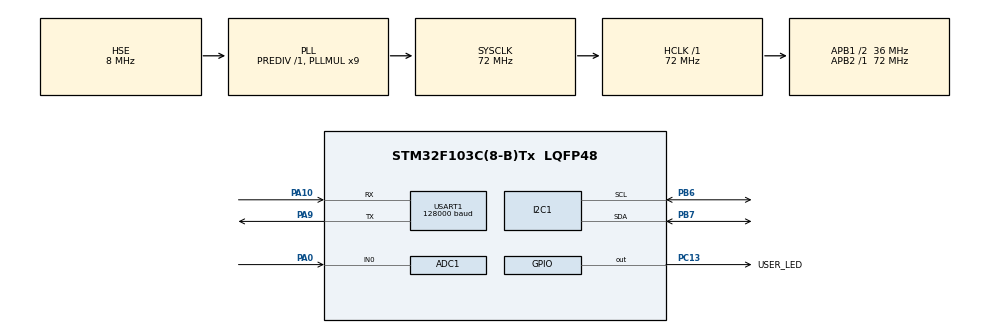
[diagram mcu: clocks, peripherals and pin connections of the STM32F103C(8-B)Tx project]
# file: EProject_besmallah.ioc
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ADC1.Channel-0\#ChannelRegularConversion=ADC_CHANNEL_0
ADC1.ContinuousConvMode=ENABLE
ADC1.NbrOfConversionFlag=1
ADC1.Rank-0\#ChannelRegularConversion=1
ADC1.SamplingTime-0\#ChannelRegularConversion=ADC_SAMPLETIME_1CYCLE_5
ADC1.master=1
Dma.ADC1.0.Direction=DMA_PERIPH_TO_MEMORY
Dma.ADC1.0.Instance=DMA1_Channel1
Dma.ADC1.0.MemDataAlignment=DMA_MDATAALIGN_WORD
Dma.ADC1.0.MemInc=DMA_MINC_ENABLE
Dma.ADC1.0.Mode=DMA_CIRCULAR
Dma.ADC1.0.PeriphDataAlignment=DMA_PDATAALIGN_WORD
Dma.ADC1.0.PeriphInc=DMA_PINC_DISABLE
Dma.ADC1.0.Priority=DMA_PRIORITY_LOW
Dma.Request0=ADC1
Mcu.Family=STM32F1
Mcu.Name=STM32F103C(8-B)Tx
Mcu.Package=LQFP48
NVIC.ADC1_2_IRQn=true\:0\:0\:true\:false\:true\:true\:true
NVIC.DMA1_Channel1_IRQn=true\:0\:0\:false\:false\:true\:false\:true
NVIC.PriorityGroup=NVIC_PRIORITYGROUP_4
NVIC.USART1_IRQn=true\:0\:0\:false\:false\:true\:true\:true
PA0-WKUP.Signal=ADCx_IN0
PA10.Mode=Asynchronous
PA10.Signal=USART1_RX
PA13.Mode=Serial_Wire
PA13.Signal=SYS_JTMS-SWDIO
PA14.Mode=Serial_Wire
PA14.Signal=SYS_JTCK-SWCLK
PA9.Mode=Asynchronous
PA9.Signal=USART1_TX
PB6.Mode=I2C
PB6.Signal=I2C1_SCL
PB7.Mode=I2C
PB7.Signal=I2C1_SDA
PC13-TAMPER-RTC.GPIO_Label=USER_LED
PC13-TAMPER-RTC.Signal=GPIO_Output
PD0-OSC_IN.Mode=HSE-External-Oscillator
PD0-OSC_IN.Signal=RCC_OSC_IN
PD1-OSC_OUT.Mode=HSE-External-Oscillator
PD1-OSC_OUT.Signal=RCC_OSC_OUT
ProjectManager.HeapSize=0x200
ProjectManager.StackSize=0x400
ProjectManager.TargetToolchain=MDK-ARM V5.27
RCC.ADCPresc=RCC_ADCPCLK2_DIV6
RCC.AHBFreq_Value=72000000
RCC.APB1CLKDivider=RCC_HCLK_DIV2
RCC.APB1Freq_Value=36000000
RCC.APB1TimFreq_Value=72000000
RCC.APB2Freq_Value=72000000
RCC.APB2TimFreq_Value=72000000
RCC.HCLKFreq_Value=72000000
RCC.PLLMUL=RCC_PLL_MUL9
RCC.PLLSourceVirtual=RCC_PLLSOURCE_HSE
RCC.SYSCLKFreq_VALUE=72000000
RCC.SYSCLKSource=RCC_SYSCLKSOURCE_PLLCLK
RCC.USBFreq_Value=72000000
SH.ADCx_IN0.0=ADC1_IN0,IN0
TIM2.AutoReloadPreload=TIM_AUTORELOAD_PRELOAD_DISABLE
TIM2.Period=2000
TIM2.Prescaler=35999
TIM3.Period=9000
TIM3.TIM_MasterOutputTrigger=TIM_TRGO_UPDATE
USART1.BaudRate=128000
USART1.VirtualMode=VM_ASYNC
VP_TIM2_VS_ClockSourceINT.Mode=Internal
VP_TIM3_VS_ClockSourceINT.Mode=Internal
board=custom

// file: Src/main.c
/* USER CODE BEGIN Header */
/**
  ******************************************************************************
  * @file           : main.c
  * @brief          : Main program body
  ******************************************************************************
  * @attention
  *
  * <h2><center>&copy; Copyright (c) 2020 STMicroelectronics.
  * All rights reserved.</center></h2>
  *
  * This software component is licensed by ST under BSD 3-Clause license,
  * the "License"; You may not use this file except in compliance with the
  * License. You may obtain a copy of the License at:
  *                        opensource.org/licenses/BSD-3-Clause
  *
  ******************************************************************************
  */
/* USER CODE END Header */

#include "main.h"

/* USER CODE BEGIN Includes */
#include "stdlib.h"
#include "stdio.h"
#include "string.h"
/* USER CODE END Includes */

ADC_HandleTypeDef hadc1;
DMA_HandleTypeDef hdma_adc1;

I2C_HandleTypeDef hi2c1;

TIM_HandleTypeDef htim2;
TIM_HandleTypeDef htim3;

UART_HandleTypeDef huart1;

void SystemClock_Config(void);
static void MX_GPIO_Init(void);
static void MX_DMA_Init(void);
static void MX_ADC1_Init(void);
static void MX_I2C1_Init(void);
static void MX_USART1_UART_Init(void);
static void MX_TIM2_Init(void);
static void MX_TIM3_Init(void);

/* USER CODE BEGIN 0 */
uint32_t adc_val;
uint32_t buffer;
uint32_t adc_data[1000];
uint32_t i = 0;
uint32_t returnCode;
//int flag=0;

uint8_t bit_cnt=0;
char rec_val[4] = {'0','0','0','0'};
volatile uint32_t min_ticks=0;
volatile uint32_t sample_ticks=0;
volatile uint32_t adc_val_prev=0;
volatile uint8_t flag=0;
volatile uint32_t input_rate=1;
volatile uint16_t temp=1;
volatile uint32_t gen_rate =0;

void GenerateRate(){
	if(input_rate>1000)
		input_rate=1000;
	  gen_rate = (1000/input_rate);
	  sample_ticks=0;
}

 void HAL_UART_RxCpltCallback(UART_HandleTypeDef* huart){
	        sscanf(rec_val, "%d", &input_rate);
//	 		    char error[4];
//			    sprintf(error, "%zu", input_rate);
//		      HAL_UART_Transmit(&huart1, (uint8_t *)error, sizeof(error), HAL_MAX_DELAY);
//	        HAL_UART_Transmit(&huart1, (uint8_t *)rec_val, sizeof(rec_val), HAL_MAX_DELAY);
	        if(input_rate>0x9){// if received 4 characetrs abort
				  GenerateRate();
	        flag = 1;
				 // bit_cnt=0x0;
					HAL_UART_AbortReceive_IT(&huart1);
			 }
			 else{
			// bit_cnt= bit_cnt +1;
			 HAL_UART_Receive_IT(&huart1,(uint8_t*) rec_val, sizeof(rec_val));
			 }
 }
void HAL_ADC_ConvCpltCallback(ADC_HandleTypeDef* hadc){
	//here dma
//	adc_val= buffer;
	//sprintf(msg, "%zu\r\n", adc_val);
	//HAL_UART_Transmit(&huart1, (uint8_t *)msg, strlen(msg), HAL_MAX_DELAY);

//	if(i == 47000)
//		i=0;
//	else
//		i=i+1;q

	// here interrupt
	adc_val_prev = adc_val;
	adc_val = HAL_ADC_GetValue(&hadc1);
	//adc_data[i]=adc_val;
	//HAL_UART_Transmit(&huart1, (uint8_t *)msg, strlen(msg), HAL_MAX_DELAY);
	// strt here if cont is disabled
	//HAL_ADC_Start_IT(&hadc1);

}

/* USER CODE END 0 */

int main(void)
{

  /* MCU Configuration--------------------------------------------------------*/

  /* Reset of all peripherals, Initializes the Flash interface and the Systick. */
  HAL_Init();

  /* Configure the system clock */
  SystemClock_Config();

  /* Initialize all configured peripherals */
  MX_GPIO_Init();
  MX_DMA_Init();
  MX_ADC1_Init();
  MX_I2C1_Init();
  MX_USART1_UART_Init();
  MX_TIM2_Init();
  MX_TIM3_Init();
  /* USER CODE BEGIN 2 */
//	lcd_init();
// HAL_ADC_Start_DMA(&hadc1,&buffer, 1 );
     HAL_UART_Receive_IT(&huart1,(uint8_t*) rec_val, sizeof(rec_val));
    // GenerateRate();  // to be called in the uart IRQ
     HAL_ADC_Start_IT(&hadc1);

   SystemCoreClockUpdate();
   returnCode= SysTick_Config(SystemCoreClock/1000); // interrupt generated every millisecond
//   if(returnCode!=0)
//	 {
//		 char error[]="Error in ReturnCode.";
//		 HAL_UART_Transmit(&huart1, (uint8_t *)error, strlen(error), HAL_MAX_DELAY);
//	 }

  /* USER CODE END 2 */

  /* Infinite loop */
  /* USER CODE BEGIN WHILE */
	//char s[]="Hello";
  while (1)
  {
    /* USER CODE END WHILE */

    /* USER CODE BEGIN 3 */
//		HAL_ADC_Start(&hadc1);
//		HAL_ADC_PollForConversion(&hadc1 ,100); // wait for the conversion to finish
//		adc_val = HAL_ADC_GetValue(&hadc1);
//		HAL_ADC_Stop(&hadc1);
//		HAL_Delay(1);
  }
  /* USER CODE END 3 */
}

void SystemClock_Config(void)
{
  RCC_OscInitTypeDef RCC_OscInitStruct = {0};
  RCC_ClkInitTypeDef RCC_ClkInitStruct = {0};
  RCC_PeriphCLKInitTypeDef PeriphClkInit = {0};

  /** Initializes the CPU, AHB and APB busses clocks
  */
  RCC_OscInitStruct.OscillatorType = RCC_OSCILLATORTYPE_HSE;
  RCC_OscInitStruct.HSEState = RCC_HSE_ON;
  RCC_OscInitStruct.HSEPredivValue = RCC_HSE_PREDIV_DIV1;
  RCC_OscInitStruct.HSIState = RCC_HSI_ON;
  RCC_OscInitStruct.PLL.PLLState = RCC_PLL_ON;
  RCC_OscInitStruct.PLL.PLLSource = RCC_PLLSOURCE_HSE;
  RCC_OscInitStruct.PLL.PLLMUL = RCC_PLL_MUL9;
  if (HAL_RCC_OscConfig(&RCC_OscInitStruct) != HAL_OK)
  {
    Error_Handler();
  }
  /** Initializes the CPU, AHB and APB busses clocks
  */
  RCC_ClkInitStruct.ClockType = RCC_CLOCKTYPE_HCLK|RCC_CLOCKTYPE_SYSCLK
                              |RCC_CLOCKTYPE_PCLK1|RCC_CLOCKTYPE_PCLK2;
  RCC_ClkInitStruct.SYSCLKSource = RCC_SYSCLKSOURCE_PLLCLK;
  RCC_ClkInitStruct.AHBCLKDivider = RCC_SYSCLK_DIV1;
  RCC_ClkInitStruct.APB1CLKDivider = RCC_HCLK_DIV2;
  RCC_ClkInitStruct.APB2CLKDivider = RCC_HCLK_DIV1;

  if (HAL_RCC_ClockConfig(&RCC_ClkInitStruct, FLASH_LATENCY_2) != HAL_OK)
  {
    Error_Handler();
  }
  PeriphClkInit.PeriphClockSelection = RCC_PERIPHCLK_ADC;
  PeriphClkInit.AdcClockSelection = RCC_ADCPCLK2_DIV6;
  if (HAL_RCCEx_PeriphCLKConfig(&PeriphClkInit) != HAL_OK)
  {
    Error_Handler();
  }
}

static void MX_ADC1_Init(void)
{

  ADC_ChannelConfTypeDef sConfig = {0};

  /** Common config
  */
  hadc1.Instance = ADC1;
  hadc1.Init.ScanConvMode = ADC_SCAN_DISABLE;
  hadc1.Init.ContinuousConvMode = ENABLE;
  hadc1.Init.DiscontinuousConvMode = DISABLE;
  hadc1.Init.ExternalTrigConv = ADC_SOFTWARE_START;
  hadc1.Init.DataAlign = ADC_DATAALIGN_RIGHT;
  hadc1.Init.NbrOfConversion = 1;
  if (HAL_ADC_Init(&hadc1) != HAL_OK)
  {
    Error_Handler();
  }
  /** Configure Regular Channel
  */
  sConfig.Channel = ADC_CHANNEL_0;
  sConfig.Rank = ADC_REGULAR_RANK_1;
  sConfig.SamplingTime = ADC_SAMPLETIME_1CYCLE_5;
  if (HAL_ADC_ConfigChannel(&hadc1, &sConfig) != HAL_OK)
  {
    Error_Handler();
  }

}

static void MX_I2C1_Init(void)
{

  hi2c1.Instance = I2C1;
  hi2c1.Init.ClockSpeed = 100000;
  hi2c1.Init.DutyCycle = I2C_DUTYCYCLE_2;
  hi2c1.Init.OwnAddress1 = 0;
  hi2c1.Init.AddressingMode = I2C_ADDRESSINGMODE_7BIT;
  hi2c1.Init.DualAddressMode = I2C_DUALADDRESS_DISABLE;
  hi2c1.Init.OwnAddress2 = 0;
  hi2c1.Init.GeneralCallMode = I2C_GENERALCALL_DISABLE;
  hi2c1.Init.NoStretchMode = I2C_NOSTRETCH_DISABLE;
  if (HAL_I2C_Init(&hi2c1) != HAL_OK)
  {
    Error_Handler();
  }

}

static void MX_TIM2_Init(void)
{

  TIM_ClockConfigTypeDef sClockSourceConfig = {0};
  TIM_MasterConfigTypeDef sMasterConfig = {0};

  htim2.Instance = TIM2;
  htim2.Init.Prescaler = 35999;
  htim2.Init.CounterMode = TIM_COUNTERMODE_UP;
  htim2.Init.Period = 2000;
  htim2.Init.ClockDivision = TIM_CLOCKDIVISION_DIV1;
  htim2.Init.AutoReloadPreload = TIM_AUTORELOAD_PRELOAD_DISABLE;
  if (HAL_TIM_Base_Init(&htim2) != HAL_OK)
  {
    Error_Handler();
  }
  sClockSourceConfig.ClockSource = TIM_CLOCKSOURCE_INTERNAL;
  if (HAL_TIM_ConfigClockSource(&htim2, &sClockSourceConfig) != HAL_OK)
  {
    Error_Handler();
  }
  sMasterConfig.MasterOutputTrigger = TIM_TRGO_RESET;
  sMasterConfig.MasterSlaveMode = TIM_MASTERSLAVEMODE_DISABLE;
  if (HAL_TIMEx_MasterConfigSynchronization(&htim2, &sMasterConfig) != HAL_OK)
  {
    Error_Handler();
  }

}

static void MX_TIM3_Init(void)
{

  TIM_ClockConfigTypeDef sClockSourceConfig = {0};
  TIM_MasterConfigTypeDef sMasterConfig = {0};

  htim3.Instance = TIM3;
  htim3.Init.Prescaler = 0;
  htim3.Init.CounterMode = TIM_COUNTERMODE_UP;
  htim3.Init.Period = 9000;
  htim3.Init.ClockDivision = TIM_CLOCKDIVISION_DIV1;
  htim3.Init.AutoReloadPreload = TIM_AUTORELOAD_PRELOAD_DISABLE;
  if (HAL_TIM_Base_Init(&htim3) != HAL_OK)
  {
    Error_Handler();
  }
  sClockSourceConfig.ClockSource = TIM_CLOCKSOURCE_INTERNAL;
  if (HAL_TIM_ConfigClockSource(&htim3, &sClockSourceConfig) != HAL_OK)
  {
    Error_Handler();
  }
  sMasterConfig.MasterOutputTrigger = TIM_TRGO_UPDATE;
  sMasterConfig.MasterSlaveMode = TIM_MASTERSLAVEMODE_DISABLE;
  if (HAL_TIMEx_MasterConfigSynchronization(&htim3, &sMasterConfig) != HAL_OK)
  {
    Error_Handler();
  }

}

static void MX_USART1_UART_Init(void)
{

  huart1.Instance = USART1;
  huart1.Init.BaudRate = 128000;
  huart1.Init.WordLength = UART_WORDLENGTH_8B;
  huart1.Init.StopBits = UART_STOPBITS_1;
  huart1.Init.Parity = UART_PARITY_NONE;
  huart1.Init.Mode = UART_MODE_TX_RX;
  huart1.Init.HwFlowCtl = UART_HWCONTROL_NONE;
  huart1.Init.OverSampling = UART_OVERSAMPLING_16;
  if (HAL_UART_Init(&huart1) != HAL_OK)
  {
    Error_Handler();
  }

}

static void MX_DMA_Init(void)
{

  /* DMA controller clock enable */
  __HAL_RCC_DMA1_CLK_ENABLE();

  /* DMA interrupt init */
  /* DMA1_Channel1_IRQn interrupt configuration */
  HAL_NVIC_SetPriority(DMA1_Channel1_IRQn, 0, 0);
  HAL_NVIC_EnableIRQ(DMA1_Channel1_IRQn);

}

static void MX_GPIO_Init(void)
{
  GPIO_InitTypeDef GPIO_InitStruct = {0};

  /* GPIO Ports Clock Enable */
  __HAL_RCC_GPIOC_CLK_ENABLE();
  __HAL_RCC_GPIOD_CLK_ENABLE();
  __HAL_RCC_GPIOA_CLK_ENABLE();
  __HAL_RCC_GPIOB_CLK_ENABLE();

  /*Configure GPIO pin Output Level */
  HAL_GPIO_WritePin(USER_LED_GPIO_Port, USER_LED_Pin, GPIO_PIN_RESET);

  /*Configure GPIO pin : USER_LED_Pin */
  GPIO_InitStruct.Pin = USER_LED_Pin;
  GPIO_InitStruct.Mode = GPIO_MODE_OUTPUT_PP;
  GPIO_InitStruct.Pull = GPIO_NOPULL;
  GPIO_InitStruct.Speed = GPIO_SPEED_FREQ_LOW;
  HAL_GPIO_Init(USER_LED_GPIO_Port, &GPIO_InitStruct);

}

void Error_Handler(void)
{
}

/************************ (C) COPYRIGHT STMicroelectronics *****END OF FILE****/
